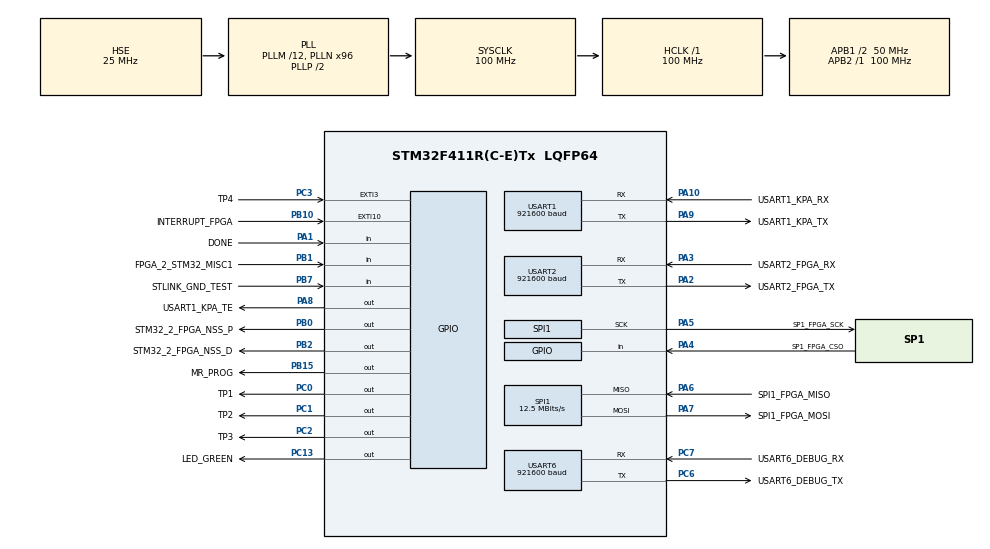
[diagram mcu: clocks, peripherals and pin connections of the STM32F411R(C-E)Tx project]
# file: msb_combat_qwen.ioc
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ADC1.Channel-0\#ChannelRegularConversion=ADC_CHANNEL_VREFINT
ADC1.Channel-1\#ChannelRegularConversion=ADC_CHANNEL_TEMPSENSOR
ADC1.ContinuousConvMode=ENABLE
ADC1.ExternalTrigConv=ADC_SOFTWARE_START
ADC1.InjNumberOfConversion=0
ADC1.NbrOfConversion=2
ADC1.NbrOfConversionFlag=1
ADC1.Rank-0\#ChannelRegularConversion=1
ADC1.Rank-1\#ChannelRegularConversion=2
ADC1.SamplingTime-0\#ChannelRegularConversion=ADC_SAMPLETIME_480CYCLES
ADC1.SamplingTime-1\#ChannelRegularConversion=ADC_SAMPLETIME_480CYCLES
ADC1.ScanConvMode=ENABLE
ADC1.master=1
Dma.Request0=USART6_RX
Dma.Request1=USART6_TX
Dma.Request2=USART1_RX
Dma.Request3=USART1_TX
Dma.Request4=USART2_RX
Dma.Request5=USART2_TX
Dma.USART1_RX.2.Direction=DMA_PERIPH_TO_MEMORY
Dma.USART1_RX.2.FIFOMode=DMA_FIFOMODE_DISABLE
Dma.USART1_RX.2.Instance=DMA2_Stream2
Dma.USART1_RX.2.MemDataAlignment=DMA_MDATAALIGN_BYTE
Dma.USART1_RX.2.MemInc=DMA_MINC_ENABLE
Dma.USART1_RX.2.Mode=DMA_CIRCULAR
Dma.USART1_RX.2.PeriphDataAlignment=DMA_PDATAALIGN_BYTE
Dma.USART1_RX.2.PeriphInc=DMA_PINC_DISABLE
Dma.USART1_RX.2.Priority=DMA_PRIORITY_LOW
Dma.USART1_TX.3.Direction=DMA_MEMORY_TO_PERIPH
Dma.USART1_TX.3.FIFOMode=DMA_FIFOMODE_DISABLE
Dma.USART1_TX.3.Instance=DMA2_Stream7
Dma.USART1_TX.3.MemDataAlignment=DMA_MDATAALIGN_BYTE
Dma.USART1_TX.3.MemInc=DMA_MINC_ENABLE
Dma.USART1_TX.3.Mode=DMA_NORMAL
Dma.USART1_TX.3.PeriphDataAlignment=DMA_PDATAALIGN_BYTE
Dma.USART1_TX.3.PeriphInc=DMA_PINC_DISABLE
Dma.USART1_TX.3.Priority=DMA_PRIORITY_LOW
Dma.USART2_RX.4.Direction=DMA_PERIPH_TO_MEMORY
Dma.USART2_RX.4.FIFOMode=DMA_FIFOMODE_DISABLE
Dma.USART2_RX.4.Instance=DMA1_Stream5
Dma.USART2_RX.4.MemDataAlignment=DMA_MDATAALIGN_BYTE
Dma.USART2_RX.4.MemInc=DMA_MINC_ENABLE
Dma.USART2_RX.4.Mode=DMA_NORMAL
Dma.USART2_RX.4.PeriphDataAlignment=DMA_PDATAALIGN_BYTE
Dma.USART2_RX.4.PeriphInc=DMA_PINC_DISABLE
Dma.USART2_RX.4.Priority=DMA_PRIORITY_LOW
Dma.USART2_TX.5.Direction=DMA_MEMORY_TO_PERIPH
Dma.USART2_TX.5.FIFOMode=DMA_FIFOMODE_DISABLE
Dma.USART2_TX.5.Instance=DMA1_Stream6
Dma.USART2_TX.5.MemDataAlignment=DMA_MDATAALIGN_BYTE
Dma.USART2_TX.5.MemInc=DMA_MINC_ENABLE
Dma.USART2_TX.5.Mode=DMA_NORMAL
Dma.USART2_TX.5.PeriphDataAlignment=DMA_PDATAALIGN_BYTE
Dma.USART2_TX.5.PeriphInc=DMA_PINC_DISABLE
Dma.USART2_TX.5.Priority=DMA_PRIORITY_LOW
Dma.USART6_RX.0.Direction=DMA_PERIPH_TO_MEMORY
Dma.USART6_RX.0.FIFOMode=DMA_FIFOMODE_DISABLE
Dma.USART6_RX.0.Instance=DMA2_Stream1
Dma.USART6_RX.0.MemDataAlignment=DMA_MDATAALIGN_BYTE
Dma.USART6_RX.0.MemInc=DMA_MINC_ENABLE
Dma.USART6_RX.0.Mode=DMA_CIRCULAR
Dma.USART6_RX.0.PeriphDataAlignment=DMA_PDATAALIGN_BYTE
Dma.USART6_RX.0.PeriphInc=DMA_PINC_DISABLE
Dma.USART6_RX.0.Priority=DMA_PRIORITY_LOW
Dma.USART6_TX.1.Direction=DMA_MEMORY_TO_PERIPH
Dma.USART6_TX.1.FIFOMode=DMA_FIFOMODE_DISABLE
Dma.USART6_TX.1.Instance=DMA2_Stream6
Dma.USART6_TX.1.MemDataAlignment=DMA_MDATAALIGN_BYTE
Dma.USART6_TX.1.MemInc=DMA_MINC_ENABLE
Dma.USART6_TX.1.Mode=DMA_NORMAL
Dma.USART6_TX.1.PeriphDataAlignment=DMA_PDATAALIGN_BYTE
Dma.USART6_TX.1.PeriphInc=DMA_PINC_DISABLE
Dma.USART6_TX.1.Priority=DMA_PRIORITY_LOW
FREERTOS.Tasks01=defaultTask,32,1024,StartDefaultTask,Default,NULL,Dynamic,NULL,NULL;TerminalTask,24,1024,StartTerminalTask,Default,NULL,Dynamic,NULL,NULL;TemperatureTask,8,1024,StartTemperatureTask,Default,NULL,Dynamic,NULL,NULL
FREERTOS.configTOTAL_HEAP_SIZE=32768
FREERTOS.configUSE_NEWLIB_REENTRANT=1
Mcu.Family=STM32F4
Mcu.Name=STM32F411R(C-E)Tx
Mcu.Package=LQFP64
NVIC.DMA1_Stream5_IRQn=true\:5\:0\:false\:false\:true\:true\:false\:true\:true
NVIC.DMA1_Stream6_IRQn=true\:5\:0\:false\:false\:true\:true\:false\:true\:true
NVIC.DMA2_Stream1_IRQn=true\:5\:0\:false\:false\:true\:true\:false\:true\:true
NVIC.DMA2_Stream2_IRQn=true\:5\:0\:false\:false\:true\:true\:false\:true\:true
NVIC.DMA2_Stream6_IRQn=true\:5\:0\:false\:false\:true\:true\:false\:true\:true
NVIC.DMA2_Stream7_IRQn=true\:5\:0\:false\:false\:true\:true\:false\:true\:true
NVIC.PriorityGroup=NVIC_PRIORITYGROUP_4
NVIC.TIM1_UP_TIM10_IRQn=true\:15\:0\:false\:false\:true\:false\:false\:true\:true
NVIC.TimeBase=TIM1_UP_TIM10_IRQn
NVIC.TimeBaseIP=TIM10
NVIC.USART1_IRQn=true\:5\:0\:false\:false\:true\:true\:true\:true\:true
NVIC.USART2_IRQn=true\:5\:0\:false\:false\:true\:true\:true\:true\:true
NVIC.USART6_IRQn=true\:5\:0\:false\:false\:true\:true\:true\:true\:true
PA1.GPIO_Label=DONE
PA1.Signal=GPIO_Input
PA10.GPIO_Label=USART1_KPA_RX
PA10.Mode=Asynchronous
PA10.Signal=USART1_RX
PA13.Mode=Trace_Asynchronous_SW
PA13.Signal=SYS_JTMS-SWDIO
PA14.Mode=Trace_Asynchronous_SW
PA14.Signal=SYS_JTCK-SWCLK
PA2.GPIO_Label=USART2_FPGA_TX
PA2.Mode=Asynchronous
PA2.Signal=USART2_TX
PA3.GPIO_Label=USART2_FPGA_RX
PA3.Mode=Asynchronous
PA3.Signal=USART2_RX
PA4.GPIO_Label=SP1_FPGA_CSO
PA4.Signal=GPIO_Input
PA5.GPIO_Label=SP1_FPGA_SCK
PA5.Mode=Full_Duplex_Master
PA5.Signal=SPI1_SCK
PA6.GPIO_Label=SPI1_FPGA_MISO
PA6.Mode=Full_Duplex_Master
PA6.Signal=SPI1_MISO
PA7.GPIO_Label=SPI1_FPGA_MOSI
PA7.Mode=Full_Duplex_Master
PA7.Signal=SPI1_MOSI
PA8.GPIO_Label=USART1_KPA_TE
PA8.Signal=GPIO_Output
PA9.GPIO_Label=USART1_KPA_TX
PA9.Mode=Asynchronous
PA9.Signal=USART1_TX
PB0.GPIO_Label=STM32_2_FPGA_NSS_P
PB0.GPIO_PuPd=GPIO_PULLUP
PB0.GPIO_Speed=GPIO_SPEED_FREQ_VERY_HIGH
PB0.PinState=GPIO_PIN_SET
PB0.Signal=GPIO_Output
PB1.GPIO_Label=FPGA_2_STM32_MISC1
PB1.GPIO_PuPd=GPIO_PULLUP
PB1.Signal=GPIO_Input
PB10.GPIO_Label=INTERRUPT_FPGA
PB10.Signal=GPXTI10
PB15.GPIO_Label=MR_PROG
PB15.Signal=GPIO_Output
PB2.GPIO_Label=STM32_2_FPGA_NSS_D
PB2.PinState=GPIO_PIN_SET
PB2.Signal=GPIO_Output
PB3.Mode=Trace_Asynchronous_SW
PB3.Signal=SYS_JTDO-SWO
PB7.GPIO_Label=STLINK_GND_TEST
PB7.GPIO_PuPd=GPIO_PULLUP
PB7.Signal=GPIO_Input
PC0.GPIO_Label=TP1
PC0.Signal=GPIO_Output
PC1.GPIO_Label=TP2
PC1.Signal=GPIO_Output
PC13-ANTI_TAMP.GPIO_Label=LED_GREEN
PC13-ANTI_TAMP.Signal=GPIO_Output
PC2.GPIO_Label=TP3
PC2.Signal=GPIO_Output
PC3.GPIO_Label=TP4
PC3.Signal=GPXTI3
PC6.GPIO_Label=USART6_DEBUG_TX
PC6.Mode=Asynchronous
PC6.Signal=USART6_TX
PC7.GPIO_Label=USART6_DEBUG_RX
PC7.Mode=Asynchronous
PC7.Signal=USART6_RX
PH0\ -\ OSC_IN.GPIO_Label=CLK25MHZ
PH0\ -\ OSC_IN.Mode=HSE-External-Clock-Source
PH0\ -\ OSC_IN.Signal=RCC_OSC_IN
PH1\ -\ OSC_OUT.Mode=HSE-External-Clock-Source
PH1\ -\ OSC_OUT.Signal=RCC_OSC_OUT
ProjectManager.HeapSize=0x4000
ProjectManager.StackSize=0x2000
ProjectManager.TargetToolchain=STM32CubeIDE
RCC.48MHZClocksFreq_Value=50000000
RCC.AHBFreq_Value=100000000
RCC.APB1CLKDivider=RCC_HCLK_DIV2
RCC.APB1Freq_Value=50000000
RCC.APB1TimFreq_Value=100000000
RCC.APB2Freq_Value=100000000
RCC.APB2TimFreq_Value=100000000
RCC.CortexFreq_Value=100000000
RCC.HCLKFreq_Value=100000000
RCC.HSE_VALUE=25000000
RCC.HSI_VALUE=16000000
RCC.LSE_VALUE=32768
RCC.PLLM=12
RCC.PLLN=96
RCC.PLLSourceVirtual=RCC_PLLSOURCE_HSE
RCC.SYSCLKFreq_VALUE=100000000
RCC.SYSCLKSource=RCC_SYSCLKSOURCE_PLLCLK
RCC.VCOOutputFreq_Value=200000000
SPI1.BaudRatePrescaler=SPI_BAUDRATEPRESCALER_8
SPI1.CLKPolarity=SPI_POLARITY_LOW
SPI1.CalculateBaudRate=12.5 MBits/s
SPI1.DataSize=SPI_DATASIZE_16BIT
SPI1.Direction=SPI_DIRECTION_2LINES
SPI1.Mode=SPI_MODE_MASTER
SPI1.VirtualType=VM_MASTER
USART1.BaudRate=921600
USART1.Parity=PARITY_EVEN
USART1.VirtualMode=VM_ASYNC
USART1.WordLength=WORDLENGTH_9B
USART2.BaudRate=921600
USART2.Parity=PARITY_EVEN
USART2.VirtualMode=VM_ASYNC
USART2.WordLength=WORDLENGTH_9B
USART6.BaudRate=921600
USART6.Parity=PARITY_EVEN
USART6.VirtualMode=VM_ASYNC
USART6.WordLength=WORDLENGTH_9B
VP_ADC1_TempSens_Input.Mode=IN-TempSens
VP_ADC1_Vref_Input.Mode=IN-Vrefint
VP_CRC_VS_CRC.Mode=CRC_Activate
VP_FREERTOS_VS_CMSIS_V2.Mode=CMSIS_V2
VP_SYS_VS_tim10.Mode=TIM10
board=custom

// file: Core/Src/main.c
/* USER CODE BEGIN Header */
/**
  ******************************************************************************
  * @file           : main.c
  * @brief          : Main program body
  ******************************************************************************
  * @attention
  *
  * Copyright (c) 2026 STMicroelectronics.
  * All rights reserved.
  *
  * This software is licensed under terms that can be found in the LICENSE file
  * in the root directory of this software component.
  * If no LICENSE file comes with this software, it is provided AS-IS.
  *
  ******************************************************************************
  */
/* USER CODE END Header */
#include "main.h"
#include "cmsis_os.h"
#include "adc.h"
#include "crc.h"
#include "dma.h"
#include "spi.h"
#include "usart.h"
#include "gpio.h"

/* USER CODE BEGIN Includes */
#include "board_support_package.h"
/* USER CODE END Includes */

/* USER CODE BEGIN PV */
#if (APPLICATION_USE_BOOTLOADER == 1)
/* Firmware passport: consumed by patch_crc.py (PC side) and by
 * check_application() in msb_bootloader. Placed by the linker script
 * STM32F411RETX_FLASH_BL.ld into section .fw_header, right after the
 * vector table. fw_size/crc32 are placeholders (0xFFFFFFFF) in the
 * compiled image, overwritten by the patcher */
typedef struct {
	uint32_t magic;   /* 0x55AA55AA - search signature */
	uint32_t version; /* firmware version, patcher expects 1 */
	uint32_t fw_size; /* total padded image size, filled by patch_crc.py */
	uint32_t crc32;   /* CRC32 (STM32 hardware algorithm) of payload */
} fw_header_t;

__attribute__((section(".fw_header"), used)) volatile const fw_header_t fw_header = {
		.magic   = 0x55AA55AA,
		.version = 1,
		.fw_size = 0xFFFFFFFF, /* placeholder for patch_crc.py */
		.crc32   = 0xFFFFFFFF, /* placeholder for patch_crc.py */
};
#endif
/* USER CODE END PV */

void SystemClock_Config(void);
void MX_FREERTOS_Init(void);

int main(void)
{

  /* USER CODE BEGIN 1 */

#if (APPLICATION_USE_BOOTLOADER == 1)
		SCB->VTOR = 0x08020000U;
		__enable_irq();
#endif
  /* USER CODE END 1 */

  /* MCU Configuration--------------------------------------------------------*/

  /* Reset of all peripherals, Initializes the Flash interface and the Systick. */
  HAL_Init();

  /* Configure the system clock */
  SystemClock_Config();

  /* Initialize all configured peripherals */
  MX_GPIO_Init();
  MX_DMA_Init();
  MX_USART6_UART_Init();
  MX_USART1_UART_Init();
  MX_USART2_UART_Init();
  MX_SPI1_Init();
  MX_ADC1_Init();
  MX_CRC_Init();

  /* Init scheduler */
  osKernelInitialize();  /* Call init function for freertos objects (in cmsis_os2.c) */
  MX_FREERTOS_Init();

  /* Start scheduler */
  osKernelStart();

  /* We should never get here as control is now taken by the scheduler */

  /* Infinite loop */
  while (1)
  {

  }
}

void SystemClock_Config(void)
{
  RCC_OscInitTypeDef RCC_OscInitStruct = {0};
  RCC_ClkInitTypeDef RCC_ClkInitStruct = {0};

  /** Configure the main internal regulator output voltage
  */
  __HAL_RCC_PWR_CLK_ENABLE();
  __HAL_PWR_VOLTAGESCALING_CONFIG(PWR_REGULATOR_VOLTAGE_SCALE1);

  /** Initializes the RCC Oscillators according to the specified parameters
  * in the RCC_OscInitTypeDef structure.
  */
  RCC_OscInitStruct.OscillatorType = RCC_OSCILLATORTYPE_HSE;
  RCC_OscInitStruct.HSEState = RCC_HSE_BYPASS;
  RCC_OscInitStruct.PLL.PLLState = RCC_PLL_ON;
  RCC_OscInitStruct.PLL.PLLSource = RCC_PLLSOURCE_HSE;
  RCC_OscInitStruct.PLL.PLLM = 12;
  RCC_OscInitStruct.PLL.PLLN = 96;
  RCC_OscInitStruct.PLL.PLLP = RCC_PLLP_DIV2;
  RCC_OscInitStruct.PLL.PLLQ = 4;
  if (HAL_RCC_OscConfig(&RCC_OscInitStruct) != HAL_OK)
  {
    Error_Handler();
  }

  /** Initializes the CPU, AHB and APB buses clocks
  */
  RCC_ClkInitStruct.ClockType = RCC_CLOCKTYPE_HCLK|RCC_CLOCKTYPE_SYSCLK
                              |RCC_CLOCKTYPE_PCLK1|RCC_CLOCKTYPE_PCLK2;
  RCC_ClkInitStruct.SYSCLKSource = RCC_SYSCLKSOURCE_PLLCLK;
  RCC_ClkInitStruct.AHBCLKDivider = RCC_SYSCLK_DIV1;
  RCC_ClkInitStruct.APB1CLKDivider = RCC_HCLK_DIV2;
  RCC_ClkInitStruct.APB2CLKDivider = RCC_HCLK_DIV1;

  if (HAL_RCC_ClockConfig(&RCC_ClkInitStruct, FLASH_LATENCY_3) != HAL_OK)
  {
    Error_Handler();
  }
}

void HAL_TIM_PeriodElapsedCallback(TIM_HandleTypeDef *htim)
{
  if (htim->Instance == TIM10)
  {
    HAL_IncTick();
  }
}

void Error_Handler(void)
{
  __disable_irq();
  while (1)
  {
  }
}

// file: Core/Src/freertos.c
/* USER CODE BEGIN Header */
/**
  ******************************************************************************
  * File Name          : freertos.c
  * Description        : Code for FreeRTOS applications (combat).
  *                      Optimized Task Stacks, Diagnostics, and Deterministic Timing.
  *                      All comments in ASCII English.
  ******************************************************************************
  * @attention
  *
  * Copyright (c) 2026 STMicroelectronics.
  * All rights reserved.
  *
  * This software is licensed under terms that can be found in the LICENSE file
  * in the root directory of this software component.
  * If no LICENSE file comes with this software, it is provided AS-IS.
  *
  ******************************************************************************
  */
/* USER CODE END Header */

#include "FreeRTOS.h"
#include "task.h"
#include "main.h"
#include "cmsis_os.h"

/* USER CODE BEGIN Includes */
#include "board_support_package.h"
#include "pin_mgmt.h"
#include "terminal.h"
#include "fpga_control.h"
#include "fcs.h"
/* USER CODE END Includes */

/* USER CODE BEGIN PD */
/* Synchronization flag to release tasks after hardware POST */
#define TASK_START_FLAG 0x01U
/* USER CODE END PD */

/* USER CODE BEGIN Variables */
uint32_t fcs_task_counter = 0;
/* USER CODE END Variables */
/* Definitions for defaultTask */
osThreadId_t defaultTaskHandle;
const osThreadAttr_t defaultTask_attributes = {
  .name = "defaultTask",
  .stack_size = 1024 * 4,
  .priority = (osPriority_t) osPriorityAboveNormal,
};
/* Definitions for TerminalTask */
osThreadId_t TerminalTaskHandle;
const osThreadAttr_t TerminalTask_attributes = {
  .name = "TerminalTask",
  .stack_size = 1024 * 4,
  .priority = (osPriority_t) osPriorityNormal,
};
/* Definitions for TemperatureTask */
osThreadId_t TemperatureTaskHandle;
const osThreadAttr_t TemperatureTask_attributes = {
  .name = "TemperatureTask",
  .stack_size = 1024 * 4,
  .priority = (osPriority_t) osPriorityLow,
};

void StartDefaultTask(void *argument);
void StartTerminalTask(void *argument);
void StartTemperatureTask(void *argument);

void MX_FREERTOS_Init(void); /* (MISRA C 2004 rule 8.1) */

void MX_FREERTOS_Init(void) {

  /* Create the thread(s) */
  /* creation of defaultTask */
  defaultTaskHandle = osThreadNew(StartDefaultTask, NULL, &defaultTask_attributes);

  /* creation of TerminalTask */
  TerminalTaskHandle = osThreadNew(StartTerminalTask, NULL, &TerminalTask_attributes);

  /* creation of TemperatureTask */
  TemperatureTaskHandle = osThreadNew(StartTemperatureTask, NULL, &TemperatureTask_attributes);

}

void StartDefaultTask(void *argument)
{
  /* USER CODE BEGIN StartDefaultTask */

	/* 1. Run board-level POST and hardware initialization */
	init_hardware();

	/* 2. Cascade start background tasks based on diagnostic results */
	if (test_status_hardware(_B_FAULT_TERMINAL_)) {
		osThreadFlagsSet(TerminalTaskHandle, TASK_START_FLAG);
	}

	if (test_status_hardware(_B_FAULT_PINS_)) {
		osThreadFlagsSet(TemperatureTaskHandle, TASK_START_FLAG);
	}

	/* 3. Operational Branch vs Error Loop */
	if (get_status_hardware() == _B_TEST_HARDWARE_SUCCESS_) {
		/* All hardware tests passed: Enter main FCS real-time loop */
		for (;;) {
			/* ========================================================= */
			/* TEST PULSE 10 us FOR OSCILLOSCOPE ON TP2 (PC1)           */
			/* ========================================================= */
			/*
			PIN_Set_F(&pin_tp2);  TP2 -> HIGH (1)
			delay_us(10);  Exactly 10 microseconds via DWT
			PIN_Reset_F(&pin_tp2);  TP2 -> LOW (0)
			 */

			fcs_task();              /* 20 ms periodic FCS execution (50 Hz) */
			++fcs_task_counter;
			PIN_Toggle_F(&pin_tp1);   /* Fast Test Point 1 heartbeat toggle */
		}
	} else {
		/* Hardware fault detected: blink on-board LED only.
		   FPGA is not touched here - it may be the faulty unit itself. */
		for (;;) {
			PIN_Set_F(&pin_led_green);
			osDelay(500);
			PIN_Reset_F(&pin_led_green);
			osDelay(500);
		}
	}
  /* USER CODE END StartDefaultTask */
}

void StartTerminalTask(void *argument)
{
  /* USER CODE BEGIN StartTerminalTask */
	/* Wait for authorization flag from defaultTask. Sleeps with 0% CPU load. */
	osThreadFlagsWait(TASK_START_FLAG, osFlagsWaitAny, osWaitForever);

	/* Infinite loop */
	for (;;) {
		terminal_task();
	}
  /* USER CODE END StartTerminalTask */
}

void StartTemperatureTask(void *argument)
{
  /* USER CODE BEGIN StartTemperatureTask */
	static uint32_t last_wake_time = 0;

	/* Wait for authorization flag from defaultTask */
	osThreadFlagsWait(TASK_START_FLAG, osFlagsWaitAny, osWaitForever);
	last_wake_time = osKernelGetTickCount();

	/* Infinite loop (Deterministic 100 ms rate) */
	for (;;) {
		/* Updates global cpu_temperature internally */
		Read_Temperature();

		last_wake_time += (100U * osKernelGetTickFreq()) / 1000U;
		osDelayUntil(last_wake_time);
	}
  /* USER CODE END StartTemperatureTask */
}
